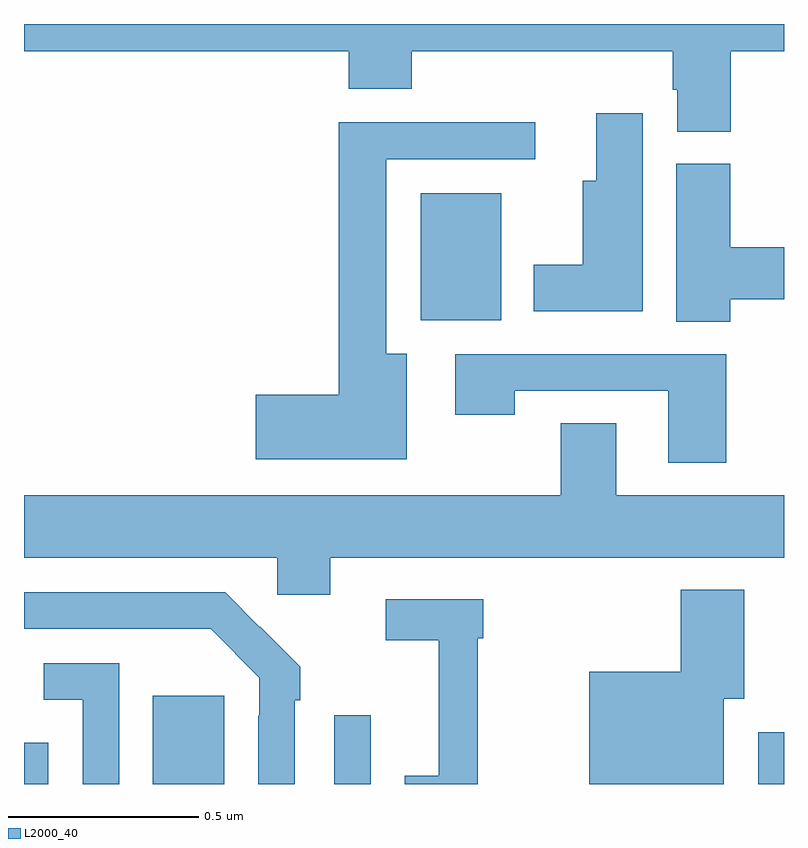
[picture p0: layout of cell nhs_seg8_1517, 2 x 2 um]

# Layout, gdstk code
import gdstk
lib = gdstk.Library(unit=1e-6, precision=1e-09)
def R(c, l, rs):  # rectangles x0, y0, x1, y1
    for r in rs: c.add(gdstk.rectangle(r[:2], r[2:], *l))
def P(c, l, *ps):  # polygons
    for p in ps: c.add(gdstk.Polygon(p, *l))
L2000_40 = (2000, 40)

nhs_seg8_1517 = lib.new_cell('nhs_seg8_1517')
R(nhs_seg8_1517, L2000_40, [(131,1119.9,131.064,1120.009), (131.339,1119.9,131.527,1120.132), (131.817,1119.9,131.913,1120.081), (132.932,1119.9,133,1120.036), (132.044,1121.12,132.256,1121.455)])
P(nhs_seg8_1517, L2000_40, [(132.86,1121.828),(133,1121.828),(133,1121.9),(131,1121.9),(131,1121.828),(131.855,1121.828),(131.855,1121.729),(132.02,1121.729),(132.02,1121.828),(132.707,1121.828),(132.707,1121.727),(132.719,1121.727),(132.719,1121.617),(132.86,1121.617)],
  [(132.628,1121.665),(132.506,1121.665),(132.506,1121.488),(132.47,1121.488),(132.47,1121.266),(132.341,1121.266),(132.341,1121.144),(132.628,1121.144)],
  [(132.007,1121.032),(131.953,1121.032),(131.953,1121.544),(132.346,1121.544),(132.346,1121.642),(131.828,1121.642),(131.828,1120.925),(131.61,1120.925),(131.61,1120.754),(132.007,1120.754)],
  [(132.858,1121.176),(133,1121.176),(133,1121.312),(132.858,1121.312),(132.858,1121.532),(132.716,1121.532),(132.716,1121.116),(132.858,1121.116)],
  [(132.848,1121.031),(132.135,1121.031),(132.135,1120.872),(132.291,1120.872),(132.291,1120.935),(132.695,1120.935),(132.695,1120.746),(132.848,1120.746)],
  [(131.806,1120.496),(133,1120.496),(133,1120.66),(132.559,1120.66),(132.559,1120.85),(132.412,1120.85),(132.412,1120.66),(131,1120.66),(131,1120.496),(131.667,1120.496),(131.667,1120.398),(131.806,1120.398)],
  [(132.841,1120.124),(132.895,1120.124),(132.895,1120.411),(132.728,1120.411),(132.728,1120.195),(132.488,1120.195),(132.488,1119.9),(132.841,1119.9)],
  [(131.712,1120.121),(131.727,1120.121),(131.727,1120.209),(131.622,1120.314),(131.621,1120.313),(131.53,1120.404),(131,1120.404),(131,1120.308),(131.491,1120.308),(131.619,1120.179),(131.619,1120.079),(131.616,1120.079),(131.616,1119.9),(131.712,1119.9)],
  [(132.194,1120.283),(132.209,1120.283),(132.209,1120.386),(131.952,1120.386),(131.952,1120.278),(132.092,1120.278),(132.092,1119.922),(132.002,1119.922),(132.002,1119.9),(132.194,1119.9)],
  [(131.25,1120.218),(131.052,1120.218),(131.052,1120.122),(131.154,1120.122),(131.154,1119.9),(131.25,1119.9)])

lib.write_gds('nhs_seg8_1517.gds')
